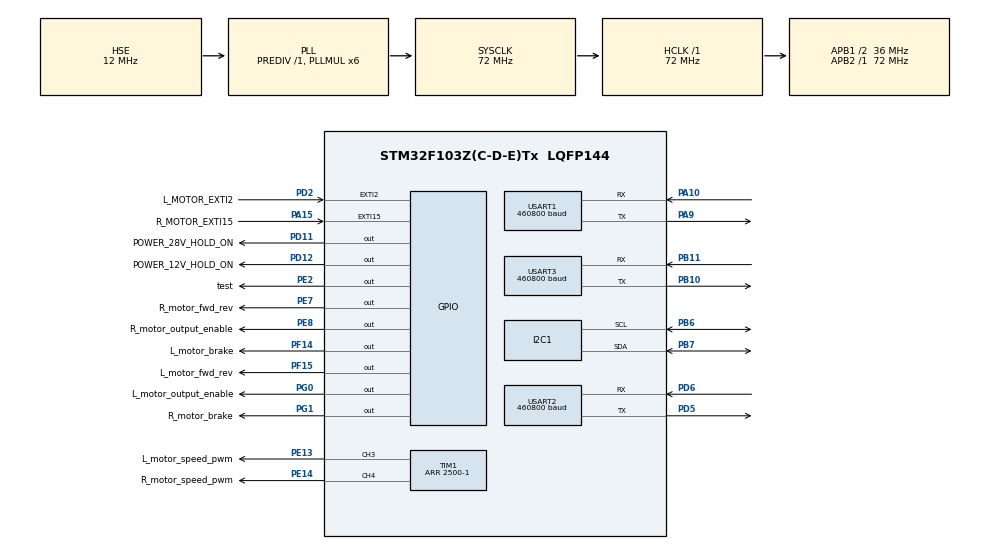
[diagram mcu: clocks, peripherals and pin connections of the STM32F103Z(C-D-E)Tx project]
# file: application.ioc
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Dma.Request0=USART1_TX
Dma.Request1=USART3_TX
Dma.Request2=USART2_RX
Dma.Request3=USART3_RX
Dma.USART1_TX.0.Direction=DMA_MEMORY_TO_PERIPH
Dma.USART1_TX.0.Instance=DMA1_Channel4
Dma.USART1_TX.0.MemDataAlignment=DMA_MDATAALIGN_BYTE
Dma.USART1_TX.0.MemInc=DMA_MINC_ENABLE
Dma.USART1_TX.0.Mode=DMA_NORMAL
Dma.USART1_TX.0.PeriphDataAlignment=DMA_PDATAALIGN_BYTE
Dma.USART1_TX.0.PeriphInc=DMA_PINC_DISABLE
Dma.USART1_TX.0.Priority=DMA_PRIORITY_VERY_HIGH
Dma.USART2_RX.2.Direction=DMA_PERIPH_TO_MEMORY
Dma.USART2_RX.2.Instance=DMA1_Channel6
Dma.USART2_RX.2.MemDataAlignment=DMA_MDATAALIGN_BYTE
Dma.USART2_RX.2.MemInc=DMA_MINC_ENABLE
Dma.USART2_RX.2.Mode=DMA_NORMAL
Dma.USART2_RX.2.PeriphDataAlignment=DMA_PDATAALIGN_BYTE
Dma.USART2_RX.2.PeriphInc=DMA_PINC_DISABLE
Dma.USART2_RX.2.Priority=DMA_PRIORITY_VERY_HIGH
Dma.USART3_RX.3.Direction=DMA_PERIPH_TO_MEMORY
Dma.USART3_RX.3.Instance=DMA1_Channel3
Dma.USART3_RX.3.MemDataAlignment=DMA_MDATAALIGN_BYTE
Dma.USART3_RX.3.MemInc=DMA_MINC_ENABLE
Dma.USART3_RX.3.Mode=DMA_NORMAL
Dma.USART3_RX.3.PeriphDataAlignment=DMA_PDATAALIGN_BYTE
Dma.USART3_RX.3.PeriphInc=DMA_PINC_DISABLE
Dma.USART3_RX.3.Priority=DMA_PRIORITY_VERY_HIGH
Dma.USART3_TX.1.Direction=DMA_MEMORY_TO_PERIPH
Dma.USART3_TX.1.Instance=DMA1_Channel2
Dma.USART3_TX.1.MemDataAlignment=DMA_MDATAALIGN_BYTE
Dma.USART3_TX.1.MemInc=DMA_MINC_ENABLE
Dma.USART3_TX.1.Mode=DMA_NORMAL
Dma.USART3_TX.1.PeriphDataAlignment=DMA_PDATAALIGN_BYTE
Dma.USART3_TX.1.PeriphInc=DMA_PINC_DISABLE
Dma.USART3_TX.1.Priority=DMA_PRIORITY_VERY_HIGH
FREERTOS.BinarySemaphores01=Moving_Control_Sem,Dynamic,NULL;Usart_Shell_Sem,Dynamic,NULL;Data_Updata_Sem,Dynamic,NULL;Analyse_Gps_Sem,Dynamic,NULL;Uart3_Rcv_Sem,Dynamic,NULL
FREERTOS.Tasks01=Moving_Control_Task,2,512,Start_Moving_Control_Task,Default,NULL,Dynamic,NULL,NULL;Power_Task,3,64,Start_Power_Task,Default,NULL,Dynamic,NULL,NULL;Shell_Task,1,256,Start_Shell_Task,Default,NULL,Dynamic,NULL,NULL;Data_Updata_Task,3,512,Start_Data_Updata_Task,Default,NULL,Dynamic,NULL,NULL;Analyse_Gps_Task,2,256,Start_Analyse_Gps_Task,Default,NULL,Dynamic,NULL,NULL;UART3_RCV_Task,2,64,Start_UART3_RCV_Task,Default,NULL,Dynamic,NULL,NULL
FREERTOS.Timers01=Timer_10ms,Timer_10ms_Callback,osTimerPeriodic,Default,NULL,Dynamic,NULL;Timer_100ms,Timer_100ms_Callback,osTimerPeriodic,Default,NULL,Dynamic,NULL
FREERTOS.configGENERATE_RUN_TIME_STATS=1
FREERTOS.configMAX_TASK_NAME_LEN=32
FREERTOS.configMINIMAL_STACK_SIZE=64
FREERTOS.configTIMER_TASK_STACK_DEPTH=64
FREERTOS.configTOTAL_HEAP_SIZE=10240
FREERTOS.configUSE_TIMERS=1
I2C1.I2C_Mode=I2C_Fast
Mcu.Family=STM32F1
Mcu.Name=STM32F103Z(C-D-E)Tx
Mcu.Package=LQFP144
NVIC.DMA1_Channel2_IRQn=true\:5\:0\:false\:false\:true\:true\:false\:true
NVIC.DMA1_Channel3_IRQn=true\:5\:0\:false\:false\:true\:true\:false\:true
NVIC.DMA1_Channel4_IRQn=true\:5\:0\:false\:false\:true\:true\:false\:true
NVIC.DMA1_Channel6_IRQn=true\:5\:0\:false\:false\:true\:true\:false\:true
NVIC.EXTI15_10_IRQn=true\:5\:0\:false\:false\:true\:true\:true\:true
NVIC.EXTI2_IRQn=true\:5\:0\:false\:false\:true\:true\:true\:true
NVIC.PriorityGroup=NVIC_PRIORITYGROUP_4
NVIC.TIM8_UP_IRQn=true\:0\:0\:false\:false\:true\:false\:false\:true
NVIC.TimeBase=TIM8_UP_IRQn
NVIC.TimeBaseIP=TIM8
NVIC.USART1_IRQn=true\:5\:0\:true\:false\:true\:true\:true\:true
NVIC.USART2_IRQn=true\:5\:0\:true\:false\:true\:true\:true\:true
NVIC.USART3_IRQn=true\:5\:0\:true\:false\:true\:true\:true\:true
OSC_IN.Mode=HSE-External-Oscillator
OSC_IN.Signal=RCC_OSC_IN
OSC_OUT.Mode=HSE-External-Oscillator
OSC_OUT.Signal=RCC_OSC_OUT
PA10.Mode=Asynchronous
PA10.Signal=USART1_RX
PA13.Mode=Serial_Wire
PA13.Signal=SYS_JTMS-SWDIO
PA14.Mode=Serial_Wire
PA14.Signal=SYS_JTCK-SWCLK
PA15.GPIO_Label=R_MOTOR_EXTI15
PA15.Signal=GPXTI15
PA9.Mode=Asynchronous
PA9.Signal=USART1_TX
PB10.Mode=Asynchronous
PB10.Signal=USART3_TX
PB11.Mode=Asynchronous
PB11.Signal=USART3_RX
PB6.Mode=I2C
PB6.Signal=I2C1_SCL
PB7.Mode=I2C
PB7.Signal=I2C1_SDA
PD11.GPIO_Label=POWER_28V_HOLD_ON
PD11.GPIO_PuPd=GPIO_PULLUP
PD11.PinState=GPIO_PIN_SET
PD11.Signal=GPIO_Output
PD12.GPIO_Label=POWER_12V_HOLD_ON
PD12.GPIO_PuPd=GPIO_PULLUP
PD12.PinState=GPIO_PIN_SET
PD12.Signal=GPIO_Output
PD2.GPIO_Label=L_MOTOR_EXTI2
PD2.Signal=GPXTI2
PD5.Mode=Asynchronous
PD5.Signal=USART2_TX
PD6.Mode=Asynchronous
PD6.Signal=USART2_RX
PE13.GPIO_Label=L_motor_speed_pwm
PE13.Signal=S_TIM1_CH3
PE14.GPIO_Label=R_motor_speed_pwm
PE14.Signal=S_TIM1_CH4
PE2.GPIO_Label=test
PE2.GPIO_PuPd=GPIO_PULLUP
PE2.Signal=GPIO_Output
PE7.GPIO_Label=R_motor_fwd_rev
PE7.GPIO_PuPd=GPIO_PULLUP
PE7.Signal=GPIO_Output
PE8.GPIO_Label=R_motor_output_enable
PE8.GPIO_PuPd=GPIO_PULLUP
PE8.Signal=GPIO_Output
PF14.GPIO_Label=L_motor_brake
PF14.GPIO_PuPd=GPIO_PULLUP
PF14.Signal=GPIO_Output
PF15.GPIO_Label=L_motor_fwd_rev
PF15.GPIO_PuPd=GPIO_PULLUP
PF15.Signal=GPIO_Output
PG0.GPIO_Label=L_motor_output_enable
PG0.GPIO_PuPd=GPIO_PULLUP
PG0.Signal=GPIO_Output
PG1.GPIO_Label=R_motor_brake
PG1.GPIO_PuPd=GPIO_PULLUP
PG1.Signal=GPIO_Output
ProjectManager.HeapSize=0x400
ProjectManager.StackSize=0x800
ProjectManager.TargetToolchain=MDK-ARM V5
RCC.AHBFreq_Value=72000000
RCC.APB1CLKDivider=RCC_HCLK_DIV2
RCC.APB1Freq_Value=36000000
RCC.APB1TimFreq_Value=72000000
RCC.APB2Freq_Value=72000000
RCC.APB2TimFreq_Value=72000000
RCC.HCLKFreq_Value=72000000
RCC.HSE_VALUE=12000000
RCC.PLLMUL=RCC_PLL_MUL6
RCC.PLLSourceVirtual=RCC_PLLSOURCE_HSE
RCC.SYSCLKFreq_VALUE=72000000
RCC.SYSCLKSource=RCC_SYSCLKSOURCE_PLLCLK
RCC.USBFreq_Value=72000000
SH.S_TIM1_CH3.0=TIM1_CH3,PWM Generation3 CH3
SH.S_TIM1_CH4.0=TIM1_CH4,PWM Generation4 CH4
TIM1.Channel-PWM\ Generation3\ CH3=TIM_CHANNEL_3
TIM1.Channel-PWM\ Generation4\ CH4=TIM_CHANNEL_4
TIM1.Period=2500-1
TIM5.Period=0xFFFF
TIM5.Prescaler=72
USART1.BaudRate=460800
USART1.VirtualMode=VM_ASYNC
USART2.BaudRate=460800
USART2.VirtualMode=VM_ASYNC
USART3.BaudRate=460800
USART3.VirtualMode=VM_ASYNC
VP_FREERTOS_VS_CMSIS_V1.Mode=CMSIS_V1
VP_SYS_VS_tim8.Mode=TIM8
VP_TIM1_VS_ClockSourceINT.Mode=Internal
VP_TIM5_VS_ClockSourceINT.Mode=Internal
board=custom

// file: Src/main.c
/* USER CODE BEGIN Header */
/**
  ******************************************************************************
  * @file           : main.c
  * @brief          : Main program body
  ******************************************************************************
  * @attention
  *
  * <h2><center>&copy; Copyright (c) 2019 STMicroelectronics.
  * All rights reserved.</center></h2>
  *
  * This software component is licensed by ST under BSD 3-Clause license,
  * the "License"; You may not use this file except in compliance with the
  * License. You may obtain a copy of the License at:
  *                        opensource.org/licenses/BSD-3-Clause
  *
  ******************************************************************************
  */
/* USER CODE END Header */

#include "main.h"
#include "cmsis_os.h"
#include "dma.h"
#include "i2c.h"
#include "tim.h"
#include "usart.h"
#include "gpio.h"

/* USER CODE BEGIN Includes */
#include "shell.h"
#include "MOTOR_driver.h"
#include "speed.h"
#include "pid.h"
#include "wheel.h"
#include "car.h"
#include "stm32f1xx.h"
#include "stm32f1xx_it.h"
#include "stdio.h"
#include "inv_mpu.h"
#include "mpu6050.h"
/* USER CODE END Includes */

void SystemClock_Config(void);
void MX_FREERTOS_Init(void);

int main(void)
{

  /* MCU Configuration--------------------------------------------------------*/

  /* Reset of all peripherals, Initializes the Flash interface and the Systick. */
  HAL_Init();

  /* Configure the system clock */
  SystemClock_Config();

  /* Initialize all configured peripherals */
  MX_GPIO_Init();
  MX_DMA_Init();
  MX_USART1_UART_Init();
  MX_I2C1_Init();
  MX_TIM1_Init();
  MX_TIM5_Init();
  MX_USART3_UART_Init();
  MX_USART2_UART_Init();
  /* USER CODE BEGIN 2 */
printf("\033[2J\033[1H");//--清屏指令
printf("\r\n==========================================================================");
printf("\r\n                     深圳市伽利略机器人有限公司     (2019)               =");
printf("\r\n=                                                                        =");
printf("\r\n=                      STM32F103CBT6 APP程序        (版本 2.0.0)         =");
printf("\r\n=                                                                        =");
printf("\r\n=                           小鱼儿飞丫飞                                 =");
printf("\r\n==========================================================================");
printf("\r\n请输入help获取相关信息....\r\n>>");

  /* USER CODE END 2 */

  /* Call init function for freertos objects (in freertos.c) */
  MX_FREERTOS_Init();

  /* Start scheduler */
  osKernelStart();

  /* We should never get here as control is now taken by the scheduler */

  /* Infinite loop */
    while (1) {

    }
}

void SystemClock_Config(void)
{
  RCC_OscInitTypeDef RCC_OscInitStruct = {0};
  RCC_ClkInitTypeDef RCC_ClkInitStruct = {0};

  /** Initializes the CPU, AHB and APB busses clocks
  */
  RCC_OscInitStruct.OscillatorType = RCC_OSCILLATORTYPE_HSE;
  RCC_OscInitStruct.HSEState = RCC_HSE_ON;
  RCC_OscInitStruct.HSEPredivValue = RCC_HSE_PREDIV_DIV1;
  RCC_OscInitStruct.HSIState = RCC_HSI_ON;
  RCC_OscInitStruct.PLL.PLLState = RCC_PLL_ON;
  RCC_OscInitStruct.PLL.PLLSource = RCC_PLLSOURCE_HSE;
  RCC_OscInitStruct.PLL.PLLMUL = RCC_PLL_MUL6;
  if (HAL_RCC_OscConfig(&RCC_OscInitStruct) != HAL_OK)
  {
    Error_Handler();
  }
  /** Initializes the CPU, AHB and APB busses clocks
  */
  RCC_ClkInitStruct.ClockType = RCC_CLOCKTYPE_HCLK|RCC_CLOCKTYPE_SYSCLK
                              |RCC_CLOCKTYPE_PCLK1|RCC_CLOCKTYPE_PCLK2;
  RCC_ClkInitStruct.SYSCLKSource = RCC_SYSCLKSOURCE_PLLCLK;
  RCC_ClkInitStruct.AHBCLKDivider = RCC_SYSCLK_DIV1;
  RCC_ClkInitStruct.APB1CLKDivider = RCC_HCLK_DIV2;
  RCC_ClkInitStruct.APB2CLKDivider = RCC_HCLK_DIV1;

  if (HAL_RCC_ClockConfig(&RCC_ClkInitStruct, FLASH_LATENCY_2) != HAL_OK)
  {
    Error_Handler();
  }
}

void HAL_TIM_PeriodElapsedCallback(TIM_HandleTypeDef *htim)
{
  if (htim->Instance == TIM8) {
    HAL_IncTick();
  }
}

void Error_Handler(void)
{
}

/************************ (C) COPYRIGHT STMicroelectronics *****END OF FILE****/

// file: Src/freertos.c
/* USER CODE BEGIN Header */
/**
  ******************************************************************************
  * File Name          : freertos.c
  * Description        : Code for freertos applications
  ******************************************************************************
  * @attention
  *
  * <h2><center>&copy; Copyright (c) 2019 STMicroelectronics.
  * All rights reserved.</center></h2>
  *
  * This software component is licensed by ST under Ultimate Liberty license
  * SLA0044, the "License"; You may not use this file except in compliance with
  * the License. You may obtain a copy of the License at:
  *                             www.st.com/SLA0044
  *
  ******************************************************************************
  */
/* USER CODE END Header */

#include "FreeRTOS.h"
#include "task.h"
#include "main.h"
#include "cmsis_os.h"

/* USER CODE BEGIN Includes */
//#include "iwdg.h"
#include "shell.h"
#include "car.h"
#include "stdio.h"
#include "usercmd.h"
#include "bno005.h"
#include "time.h"
#include "gps.h"
#include "uart.h"
#include "crc.h"
#include "shell.h"
#include "stdlib.h"
#include "uart3_rcv_queue.h"
#include "protocol.h"
#include "uppercmd.h"
/* USER CODE END Includes */

osThreadId Moving_Control_TaskHandle;
osThreadId Power_TaskHandle;
osThreadId Shell_TaskHandle;
osThreadId Data_Updata_TaskHandle;
osThreadId Analyse_Gps_TaskHandle;
osThreadId UART3_RCV_TaskHandle;
osTimerId Timer_10msHandle;
osTimerId Timer_100msHandle;
osSemaphoreId Moving_Control_SemHandle;
osSemaphoreId Usart_Shell_SemHandle;
osSemaphoreId Data_Updata_SemHandle;
osSemaphoreId Analyse_Gps_SemHandle;
osSemaphoreId Uart3_Rcv_SemHandle;

void Start_Moving_Control_Task(void const * argument);
void Start_Power_Task(void const * argument);
void Start_Shell_Task(void const * argument);
void Start_Data_Updata_Task(void const * argument);
void Start_Analyse_Gps_Task(void const * argument);
void Start_UART3_RCV_Task(void const * argument);
void Timer_10ms_Callback(void const * argument);
void Timer_100ms_Callback(void const * argument);

void MX_FREERTOS_Init(void); /* (MISRA C 2004 rule 8.1) */

/* Hook prototypes */
void configureTimerForRunTimeStats(void);
unsigned long getRunTimeCounterValue(void);

/* USER CODE BEGIN 1 */
/* Functions needed when configGENERATE_RUN_TIME_STATS is on */
__weak void configureTimerForRunTimeStats(void)
{
}

__weak unsigned long getRunTimeCounterValue(void)
{
    return 0;
}
/* USER CODE END 1 */

void MX_FREERTOS_Init(void) {

  /* Create the semaphores(s) */
  /* definition and creation of Moving_Control_Sem */
  osSemaphoreDef(Moving_Control_Sem);
  Moving_Control_SemHandle = osSemaphoreCreate(osSemaphore(Moving_Control_Sem), 1);

  /* definition and creation of Usart_Shell_Sem */
  osSemaphoreDef(Usart_Shell_Sem);
  Usart_Shell_SemHandle = osSemaphoreCreate(osSemaphore(Usart_Shell_Sem), 1);

  /* definition and creation of Data_Updata_Sem */
  osSemaphoreDef(Data_Updata_Sem);
  Data_Updata_SemHandle = osSemaphoreCreate(osSemaphore(Data_Updata_Sem), 1);

  /* definition and creation of Analyse_Gps_Sem */
  osSemaphoreDef(Analyse_Gps_Sem);
  Analyse_Gps_SemHandle = osSemaphoreCreate(osSemaphore(Analyse_Gps_Sem), 1);

  /* definition and creation of Uart3_Rcv_Sem */
  osSemaphoreDef(Uart3_Rcv_Sem);
  Uart3_Rcv_SemHandle = osSemaphoreCreate(osSemaphore(Uart3_Rcv_Sem), 1);

  /* Create the timer(s) */
  /* definition and creation of Timer_10ms */
  osTimerDef(Timer_10ms, Timer_10ms_Callback);
  Timer_10msHandle = osTimerCreate(osTimer(Timer_10ms), osTimerPeriodic, NULL);

  /* definition and creation of Timer_100ms */
  osTimerDef(Timer_100ms, Timer_100ms_Callback);
  Timer_100msHandle = osTimerCreate(osTimer(Timer_100ms), osTimerPeriodic, NULL);

  /* Create the thread(s) */
  /* definition and creation of Moving_Control_Task */
  osThreadDef(Moving_Control_Task, Start_Moving_Control_Task, osPriorityHigh, 0, 512);
  Moving_Control_TaskHandle = osThreadCreate(osThread(Moving_Control_Task), NULL);

  /* definition and creation of Power_Task */
  osThreadDef(Power_Task, Start_Power_Task, osPriorityRealtime, 0, 64);
  Power_TaskHandle = osThreadCreate(osThread(Power_Task), NULL);

  /* definition and creation of Shell_Task */
  osThreadDef(Shell_Task, Start_Shell_Task, osPriorityAboveNormal, 0, 256);
  Shell_TaskHandle = osThreadCreate(osThread(Shell_Task), NULL);

  /* definition and creation of Data_Updata_Task */
  osThreadDef(Data_Updata_Task, Start_Data_Updata_Task, osPriorityRealtime, 0, 512);
  Data_Updata_TaskHandle = osThreadCreate(osThread(Data_Updata_Task), NULL);

  /* definition and creation of Analyse_Gps_Task */
  osThreadDef(Analyse_Gps_Task, Start_Analyse_Gps_Task, osPriorityHigh, 0, 256);
  Analyse_Gps_TaskHandle = osThreadCreate(osThread(Analyse_Gps_Task), NULL);

  /* definition and creation of UART3_RCV_Task */
  osThreadDef(UART3_RCV_Task, Start_UART3_RCV_Task, osPriorityHigh, 0, 64);
  UART3_RCV_TaskHandle = osThreadCreate(osThread(UART3_RCV_Task), NULL);

}

void Start_Moving_Control_Task(void const * argument)
{

  /* USER CODE BEGIN Start_Moving_Control_Task */
    car_handle_p->car_init();
     queue_handle_p->queue_init();
	  upper_cmd_header_p->set_update_cmd_flag(1);//--默认更新运动控制命令
		static uint8_t moving_cmd_temp;
	  static int16_t v_temp;
	   float w_temp,s_or_angle_temp;
		osTimerStart(Timer_100msHandle, 100);
		// MX_IWDG_Init();
    /* Infinite loop */

    for(;;) {
        osSemaphoreWait(Moving_Control_SemHandle, osWaitForever);
       /*速度更新*/
//==================================================================
      car_handle_p->car_speed_updata();
			right_wheel_handle_p->count_wheel_walk_distance();
			left_wheel_handle_p->count_wheel_walk_distance();
			//------------------------------------------------------
			uint32_t time_temp = HAL_GetTick();		//--获取时间
			Car_Get_Time(time_temp);
		  car_data_center_p->speed = car_handle_p->read_speed();//--向数据中心更新速度
			car_data_center_p->distance = car_handle_p->read_car_distance();//--向数据中心更新总距离
//==================================================================
		/*获取上位机数据*/
		if(upper_cmd_header_p->get_remote_flag() != 1)//--非遥控
		{
			if(upper_cmd_header_p->get_update_cmd_flag())//--判断是否更新命令
			{

				upper_cmd_header_p->set_update_cmd_flag(0);//--吧更新命令标志设为0
			queue_handle_p->get_track_tracking_cmd(&moving_cmd_temp,&v_temp,&w_temp,&s_or_angle_temp);//--
      upper_cmd_header_p->set_cmd_type((E_upper_cmd_type)moving_cmd_temp);//--设置命令类型
			//--执行相应的命令
						 if(moving_cmd_temp == (uint8_t)E_UPPER_CMD_MOVING_LINE)car_handle_p->car_walk_straight_line_updata(v_temp,(int)s_or_angle_temp);
						 if(moving_cmd_temp == (uint8_t)E_UPPER_CMD_TURN)car_handle_p->car_turn_updata(v_temp,w_temp,s_or_angle_temp);

			}
			/*
				if(upper_cmd_header_p->get_update_cmd_flag())//--判断是否更新命令
				{//--如果更新命令标志是1，进行更新
					upper_cmd_header_p->set_update_cmd_flag(0);//--吧更新命令标志设为0，链表内已有的数据在动作函数内部更新
					if(queue_handle_p->list_is_null() ==0)//--如果链表不为空，说明有数据
						{
						 queue_handle_p->get_node_from_moving_list_head(&moving_cmd_temp,&v_temp,&w_temp,&s_or_angle_temp);//--从链表头获取数据
						 upper_cmd_header_p->set_cmd_type((E_upper_cmd_type)moving_cmd_temp);//--设置命令类型
							//--执行相应的命令
						 if(moving_cmd_temp == (uint8_t)E_UPPER_CMD_MOVING_LINE)car_handle_p->car_walk_straight_line_updata(v_temp,(int)s_or_angle_temp);
						 if(moving_cmd_temp == (uint8_t)E_UPPER_CMD_TURN)car_handle_p->car_turn_updata(v_temp,w_temp,s_or_angle_temp);
					 }
						//--如果链表为空，设置为更新命令状态，等待新的命令到来
					else upper_cmd_header_p->set_update_cmd_flag(1);
			 }*/
   }
		else{//--遥控
		    queue_handle_p->get_remote_cmd(&moving_cmd_temp,&v_temp,&w_temp);
			  upper_cmd_header_p->set_cmd_type((E_upper_cmd_type)moving_cmd_temp);
			  if(moving_cmd_temp == (uint8_t)E_REMOTE_CMD_MOVING_LINE)car_handle_p->car_walk_straight_line_updata(v_temp,0);
				if(moving_cmd_temp == (uint8_t)E_REMOTE_CMD_TURN)car_handle_p->car_turn_updata(v_temp,w_temp,0);
		}
//==================================================================
			    switch(upper_cmd_header_p->get_cmd_type())
					     {
						   case E_UPPER_CMD_STOP:
								     car_handle_p->car_stop();
								 break;
							 case E_UPPER_CMD_BRAKE:

								     car_handle_p->car_brake();
								 break;
							 case E_UPPER_CMD_MOVING_LINE:
								    car_handle_p->car_walk_straight_line();//--走直线
								 break;
							 case E_UPPER_CMD_TURN:
								    car_handle_p->car_turn();//--转弯
								 break;
							 case E_REMOTE_CMD_STOP:
								     car_handle_p->car_stop();
								 break;
							 case E_REMOTE_CMD_BRAKE:
								     car_handle_p->car_brake();
								 break;
							 case E_REMOTE_CMD_MOVING_LINE:
								    car_handle_p->car_remote_line();//--走直线
								 break;
							 case E_REMOTE_CMD_TURN:
								    car_handle_p->car_remote_turn();//--转弯
								 break;
							 default:
								 printf("5\r\n");
					          car_handle_p->car_stop();
							 }
//==================================================================
	 }

  /* USER CODE END Start_Moving_Control_Task */
}

void Start_Power_Task(void const * argument)
{
  /* USER CODE BEGIN Start_Power_Task */
st_usart_shell.reg_cmd("测试",Cmd_Turn_Test,"测试机器");
    /* Infinite loop */
    for(;;) {
			osDelay(10);
		}

  /* USER CODE END Start_Power_Task */
}

void Start_Shell_Task(void const * argument)
{
  /* USER CODE BEGIN Start_Shell_Task */
    st_usart_shell.init();

    /* Infinite loop */
    for(;;) {
        osSemaphoreWait(Usart_Shell_SemHandle, osWaitForever);
        st_usart_shell.rcv(1);
    }

  /* USER CODE END Start_Shell_Task */
}

void Start_Data_Updata_Task(void const * argument)
{
  /* USER CODE BEGIN Start_Data_Updata_Task */

//----------------------------------------------------------------------------------------------------------------------------
while((bon055_handle_p->bno005_err_display(bon055_handle_p->bno055_init(1))!=NO_ERROR))
 {
   HAL_I2C_DeInit(&hi2c1);     //--重启I2C
   HAL_I2C_Init(&hi2c1);
   osDelay(10);
 }
//----------------------------------------------------------------------------------------------------------------------------
  Data_Center_Iint(); //--数据中心初始化
//----------------------------------------------------------------------------------------------------------------------------
  uint32_t time_temp = 0;
//----------------------------------------------------------------------------------------------------------------------------
	osTimerStart(Timer_10msHandle, 20);

  /* Infinite loop */
  for(;;)
  {
    osSemaphoreWait(Data_Updata_SemHandle, osWaitForever);
		//------------------------------------------------------
		time_temp = HAL_GetTick();		//--获取时间
		//--------------------------------------------------------
		//--向数据中心更新imu数据
		uint8_t err = bon055_handle_p->bno055_get_data(&imu_data_center_p->pitch,&imu_data_center_p->roll,&imu_data_center_p->yaw);
    err += bon055_handle_p->bno055_get_acc_data(&imu_data_center_p->acc_x,&imu_data_center_p->acc_y,&imu_data_center_p->acc_z);
		err += bon055_handle_p->bno055_get_gyo_data(&imu_data_center_p->gyo_x,&imu_data_center_p->gyo_y,&imu_data_center_p->gyo_z);
		if(err)
		{
		  HAL_I2C_DeInit(&hi2c1);     //--重启I2C
      HAL_I2C_Init(&hi2c1);
		}
    else
	  {
	    Imu_Get_Time(time_temp);//--IMU更新时间
	  }
	  //------------------------------------------------------------
		if(upper_cmd_header_p->get_reply_flag() == 1)//--发送回复OK
		  {
			 protocol_p->send(E_PROTOCOL_ANSWER_CMD,answer_cmd_p,sizeof(uint8_t));
			 upper_cmd_header_p->set_reply_flag(0);
			}
     else
		 {
			 //-----------------------从数据中心获取数据给串口打包-------------------------------------
					protocol_p->get_base_time(time_temp);
					protocol_p->get_imu_time(imu_data_center_p->time);
					protocol_p->get_efk_pry_data(imu_data_center_p->pitch,imu_data_center_p->roll,imu_data_center_p->yaw);
					protocol_p->get_efk_acc_data(imu_data_center_p->acc_x,imu_data_center_p->acc_y,imu_data_center_p->acc_z);
					protocol_p->get_efk_gyo_data(imu_data_center_p->gyo_x,imu_data_center_p->gyo_y,imu_data_center_p->gyo_z);
					protocol_p->get_gps_time(gps_data_center_p->time);
					protocol_p->get_gps_station(gps_data_center_p->gps_state);
					protocol_p->get_gps_data(gps_data_center_p->latitude,gps_data_center_p->longitude,gps_data_center_p->speed,gps_data_center_p->rms);
					protocol_p->get_la_and_lo_station(gps_data_center_p->latitude_state,gps_data_center_p->longitude_state);
					protocol_p->get_gps_mode(gps_data_center_p->mode);
					protocol_p->get_odo_time(car_data_center_p->time);
					protocol_p->get_car_data(car_data_center_p->speed);
					//------------------------------------------------------------
			  switch(upper_cmd_header_p->get_package_type())
               {
								 case E_UPPER_MOVING_CMD:
								 break;
								 case E_UPPER_HEADING_SYCN:
									      protocol_p->send(E_PROTOCOL_HEADING_SYCN,ekf_location_p,sizeof(ekf_location));
								 break;
								 case E_UPPER_POSITION_SYCN:
									      protocol_p->send(E_PROTOCOL_POSITION_SYCN,ekf_location_p,sizeof(ekf_location));
								 break;
								 case E_UPPER_LOCATION_DATA:
									      protocol_p->send(E_PROTOCOL_LOCATION_DATA,ekf_location_p,sizeof(ekf_location));
								        printf("3\r\n");
								 break;
								 case E_UPPER_MACHINE_STATE:
									       protocol_p->send(E_PROTOCOL_MACHINE_STATE,ekf_location_p,sizeof(ekf_location));
								 break;
								 case E_UPPER_ANSWER_CMD:
									   /*回应结束标志*/
								     /*设置包类型，停止发送*/
								      upper_cmd_header_p->set_package_type(E_UPPER_NULL_CMD);
								 break;
								 case E_UPPER_NULL_CMD:
								 break;
	           }

		      }
	   }

  /* USER CODE END Start_Data_Updata_Task */
}

void Start_Analyse_Gps_Task(void const * argument)
{
  /* USER CODE BEGIN Start_Analyse_Gps_Task */
	 uart_handle_p->uart_init();//--GPS 串口空闲中断初始化
    uint32_t time_temp = 0;
  /* Infinite loop */
  for(;;)
  {
    osSemaphoreWait(Analyse_Gps_SemHandle, osWaitForever);
	time_temp = HAL_GetTick();		//--获取时间
	if(DISPLAY_STATION ==DISPLAY_NO_ANALYZE )
		uart_handle_p->uart_send_test();
	else uart_handle_p->uart_rcv_gps(time_temp);//--如果接收到数据就解析数据并更新时间

  }
  /* USER CODE END Start_Analyse_Gps_Task */
}

void Start_UART3_RCV_Task(void const * argument)
{
  /* USER CODE BEGIN Start_UART3_RCV_Task */

	  uart_handle_p->uart3_init();//--GPS 串口空闲中断初始化

  /* Infinite loop */
  for(;;)
  {
    osSemaphoreWait(Uart3_Rcv_SemHandle, osWaitForever);
    uart_handle_p->uart3_rcv_date();//--接收上位机数据

  }
  /* USER CODE END Start_UART3_RCV_Task */
}

/* Timer_10ms_Callback function */
void Timer_10ms_Callback(void const * argument)
{
  /* USER CODE BEGIN Timer_10ms_Callback */
	osSemaphoreRelease(Data_Updata_SemHandle);
  /* USER CODE END Timer_10ms_Callback */
}

/* Timer_100ms_Callback function */
void Timer_100ms_Callback(void const * argument)
{
  /* USER CODE BEGIN Timer_100ms_Callback */
    osSemaphoreRelease(Moving_Control_SemHandle);
   //HAL_IWDG_Refresh(&hiwdg);
  /* USER CODE END Timer_100ms_Callback */
}

/************************ (C) COPYRIGHT STMicroelectronics *****END OF FILE****/
